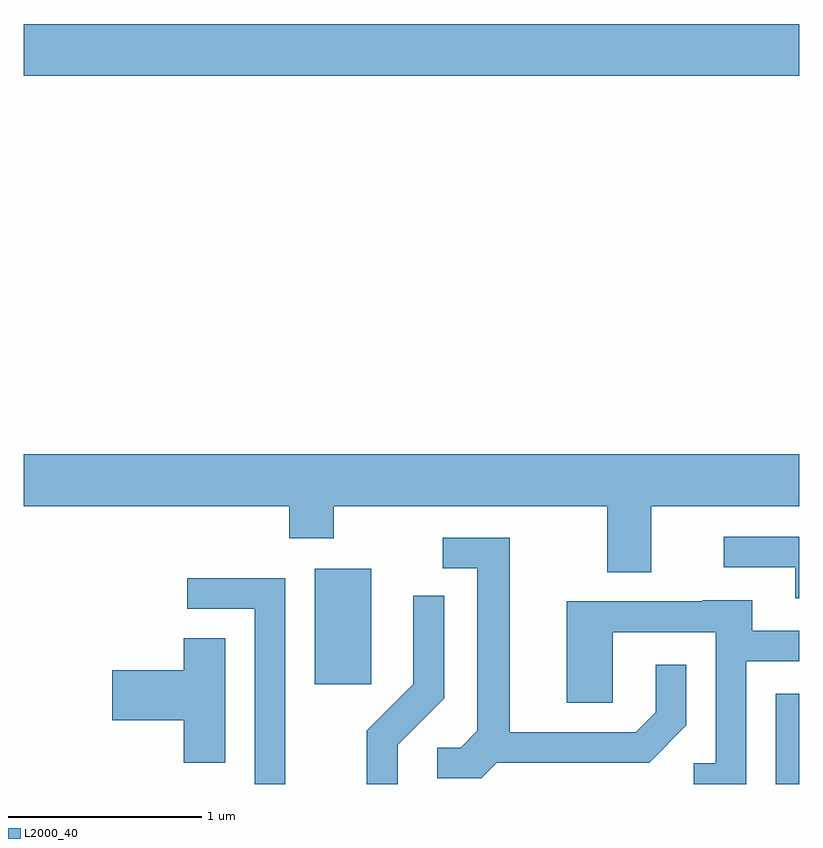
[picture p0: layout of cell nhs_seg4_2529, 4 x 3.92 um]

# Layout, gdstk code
import gdstk
lib = gdstk.Library(unit=1e-6, precision=1e-09)
def R(c, l, rs):  # rectangles x0, y0, x1, y1
    for r in rs: c.add(gdstk.rectangle(r[:2], r[2:], *l))
def P(c, l, *ps):  # polygons
    for p in ps: c.add(gdstk.Polygon(p, *l))
L2000_40 = (2000, 40)

nhs_seg4_2529 = lib.new_cell('nhs_seg4_2529')
R(nhs_seg4_2529, L2000_40, [(263.491,1279.982,263.611,1280.449), (261.111,1280.496,261.404,1281.094), (259.611,1283.636,263.611,1283.904)])
P(nhs_seg4_2529, L2000_40, [(262.849,1281.416),(263.611,1281.416),(263.611,1281.684),(259.611,1281.684),(259.611,1281.416),(260.981,1281.416),(260.981,1281.251),(261.209,1281.251),(261.209,1281.416),(262.621,1281.416),(262.621,1281.076),(262.849,1281.076)],
  [(263.611,1281.259),(263.223,1281.259),(263.223,1281.101),(263.591,1281.101),(263.591,1280.941),(263.611,1280.941)],
  [(262.052,1280.091),(262.837,1280.091),(263.029,1280.284),(263.029,1280.598),(262.871,1280.598),(262.871,1280.352),(262.769,1280.249),(262.119,1280.249),(262.119,1281.254),(261.772,1281.254),(261.772,1281.096),(261.951,1281.096),(261.951,1280.257),(261.864,1280.169),(261.743,1280.169),(261.743,1280.011),(261.972,1280.011)],
  [(260.959,1281.044),(260.453,1281.044),(260.453,1280.886),(260.801,1280.886),(260.801,1279.982),(260.959,1279.982)],
  [(261.539,1280.184),(261.779,1280.424),(261.779,1280.953),(261.621,1280.953),(261.621,1280.497),(261.381,1280.257),(261.381,1279.982),(261.539,1279.982)],
  [(263.339,1280.616),(263.611,1280.616),(263.611,1280.774),(263.369,1280.774),(263.369,1280.929),(263.115,1280.929),(263.115,1280.924),(262.411,1280.924),(262.411,1280.401),(262.649,1280.401),(262.649,1280.766),(263.181,1280.766),(263.181,1280.089),(263.068,1280.089),(263.068,1279.982),(263.339,1279.982)],
  [(260.649,1280.734),(260.436,1280.734),(260.436,1280.569),(260.066,1280.569),(260.066,1280.311),(260.436,1280.311),(260.436,1280.091),(260.649,1280.091)])

lib.write_gds('nhs_seg4_2529.gds')
